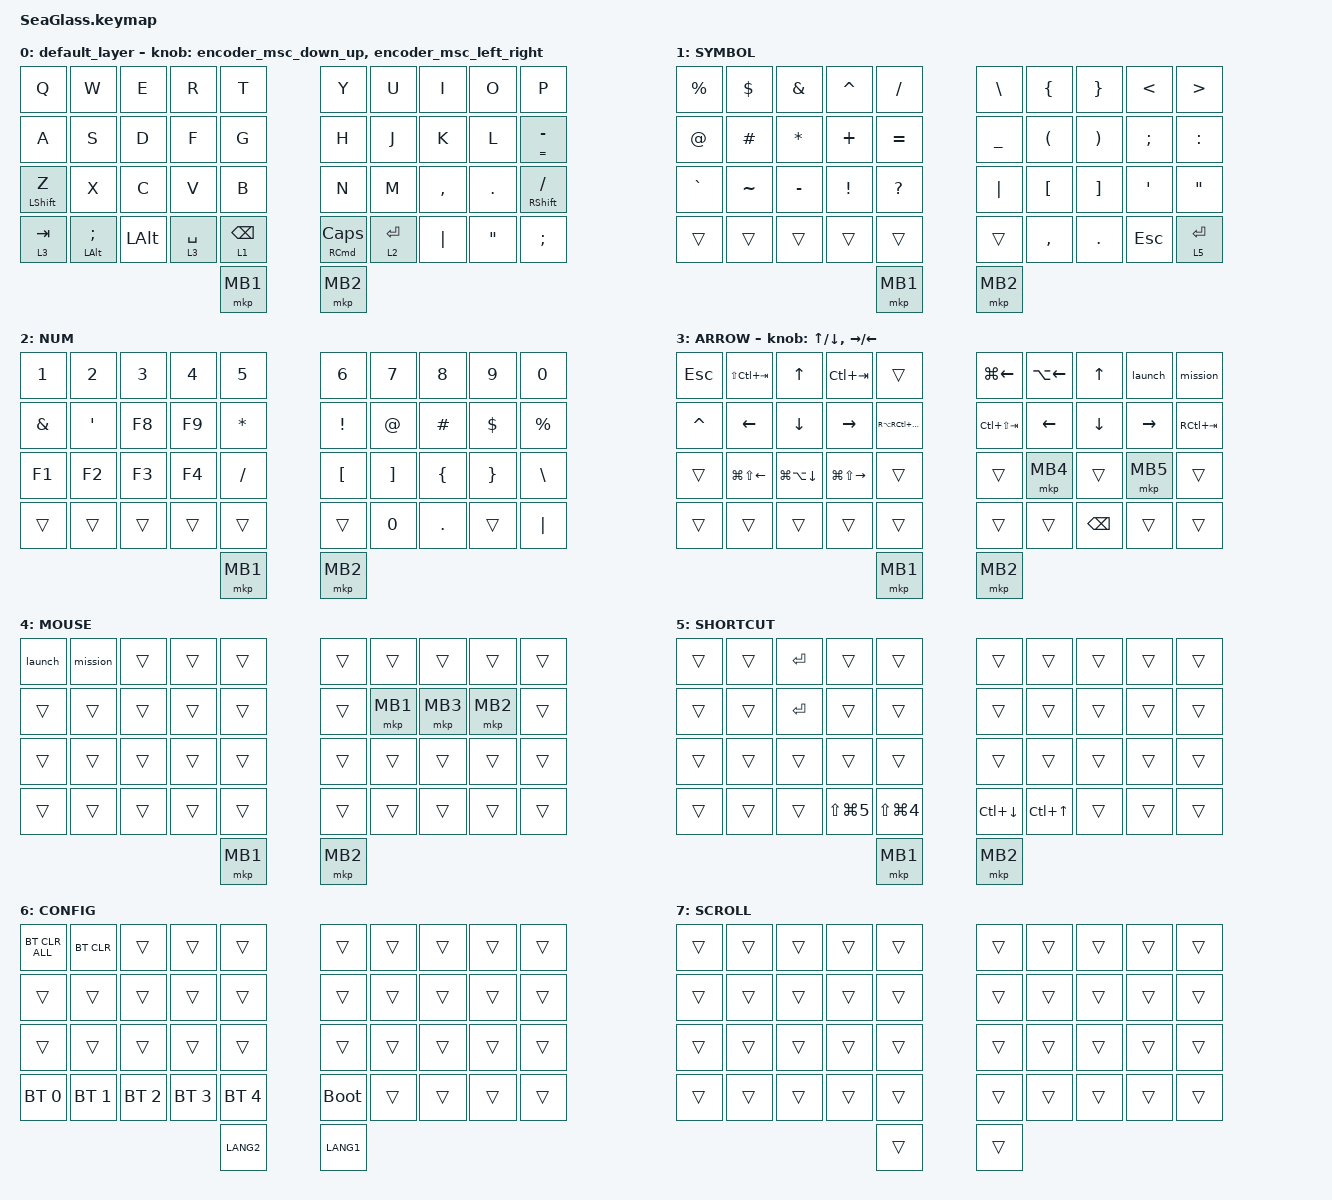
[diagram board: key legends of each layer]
#include <behaviors.dtsi>
#include <dt-bindings/zmk/bt.h>
#include <dt-bindings/zmk/keys.h>
#include <dt-bindings/zmk/pointing.h>

#define MOUSE 4
#define SCROLL 5
#define NUM 6
#define ZMK_POINTING_DEFAULT_SCRL_VAL 120

&mt {
    flavor = "balanced";
    quick-tap-ms = <300>;
};

&lt {
    flavor = "balanced";
    quick-tap-ms = <300>;
};

/ {
    combos {
        compatible = "zmk,combos";

        middle-click {
            bindings = <&mkp MB3>;
            key-positions = <40 41>;
        };

        tab {
            bindings = <&kp TAB>;
            key-positions = <10 11>;
        };

        backspace {
            bindings = <&kp ESCAPE>;
            key-positions = <0 1>;
        };

        l_disp {
            bindings = <&kp LA(LC(D))>;
            key-positions = <20 21>;
        };

        c_disp {
            bindings = <&kp LA(LC(F))>;
            key-positions = <21 22>;
        };

        r_disp {
            bindings = <&kp LA(LC(G))>;
            key-positions = <22 23>;
        };

        full_disp {
            bindings = <&kp LA(LC(ENTER))>;
            key-positions = <23 24>;
        };

        l_p {
            bindings = <&kp LEFT_PARENTHESIS>;
            key-positions = <12 13>;
        };

        r_p {
            bindings = <&kp RIGHT_PARENTHESIS>;
            key-positions = <13 14>;
        };

        r_d2 {
            bindings = <&kp LA(LC(T))>;
            key-positions = <30 31>;
        };

        cap_1 {
            bindings = <&kp LS(LG(NUMBER_4))>;
            key-positions = <38 39>;
        };

        cap_f {
            bindings = <&kp RS(LG(NUMBER_3))>;
            key-positions = <38 37>;
        };
    };

    macros {
        to_layer_0: to_layer_0 {
            compatible = "zmk,behavior-macro-one-param";
            #binding-cells = <1>;
            bindings = <&to 0 &macro_param_1to1 &kp MACRO_PLACEHOLDER>;
            label = "TO_LAYER_0";
        };

        kakko: kakko {
            compatible = "zmk,behavior-macro";
            #binding-cells = <0>;
            bindings = <&kp LEFT_PARENTHESIS &kp RIGHT_PARENTHESIS &kp LEFT_ARROW>;
            label = "KAKKO";
        };

        dai_kakkko: daikakkko {
            compatible = "zmk,behavior-macro";
            #binding-cells = <0>;
            bindings = <&kp LEFT_BRACKET &kp RIGHT_BRACKET &kp LEFT_ARROW>;
            label = "DAIKAKKKO";
        };

        nami_kakko: nami_kakko {
            compatible = "zmk,behavior-macro";
            #binding-cells = <0>;
            bindings = <&kp LEFT_BRACE &kp RIGHT_BRACE &kp LEFT_ARROW>;
            label = "NAMI_KAKKO";
        };

        mission: mission {
            compatible = "zmk,behavior-macro";
            #binding-cells = <0>;
            bindings = <&kp LC(UP_ARROW)>;
            label = "MISSION";
        };

        launch: launch {
            compatible = "zmk,behavior-macro";
            #binding-cells = <0>;
            bindings = <&kp RG(L)>;
            label = "LAUNCH";
        };
    };

    behaviors {
        lt_to_layer_0: lt_to_layer_0 {
            compatible = "zmk,behavior-hold-tap";
            label = "LAYER_TAP_TO_0";
            bindings = <&mo>, <&to_layer_0>;

            #binding-cells = <2>;
            tapping-term-ms = <200>;
        };

        encoder_msc_down_up: encoder_msc_down_up {
            compatible = "zmk,behavior-sensor-rotate";
            label = "ENCODER_MSC_DOWN_UP";
            #sensor-binding-cells = <0>;
            bindings = <&msc SCRL_UP>, <&msc SCRL_DOWN>;

            tap-ms = <20>;
        };

        encoder_msc_left_right: encoder_msc_left_right {
            compatible = "zmk,behavior-sensor-rotate";
            label = "ENCODER_MSC_LEFT_RIGHT";
            #sensor-binding-cells = <0>;
            bindings = <&msc SCRL_LEFT>, <&msc SCRL_RIGHT>;

            tap-ms = <20>;
        };
    };

    keymap {
        compatible = "zmk,keymap";

        default_layer {
            bindings = <
&kp Q             &kp W              &kp E         &kp R        &kp T            &kp Y                       &kp U        &kp I      &kp O              &kp P
&kp A             &kp S              &kp D         &kp F        &kp G            &kp H                       &kp J        &kp K      &kp L              &mt EQUAL MINUS
&mt LEFT_SHIFT Z  &kp X              &kp C         &kp V        &kp B            &kp N                       &kp M        &kp COMMA  &kp PERIOD         &mt RIGHT_SHIFT SLASH
&lt 3 TAB         &mt LEFT_ALT SEMI  &kp LEFT_ALT  &lt 3 SPACE  &lt 1 BACKSPACE  &mt RIGHT_COMMAND CAPSLOCK  &lt 2 ENTER  &kp PIPE   &kp DOUBLE_QUOTES  &kp SEMICOLON
&mkp MB1          &mkp MB2
            >;

            sensor-bindings = <&encoder_msc_down_up>, <&encoder_msc_left_right>;
        };

        SYMBOL {
            bindings = <
&kp PRCNT  &kp DOLLAR  &kp AMPERSAND  &kp CARET        &kp FSLH      &kp BSLH        &kp LEFT_BRACE        &kp RIGHT_BRACE        &kp LESS_THAN  &kp GREATER_THAN
&kp AT     &kp HASH    &kp ASTERISK   &kp PLUS         &kp EQUAL     &kp UNDERSCORE  &kp LEFT_PARENTHESIS  &kp RIGHT_PARENTHESIS  &kp SEMI       &kp COLON
&kp GRAVE  &kp TILDE   &kp MINUS      &kp EXCLAMATION  &kp QUESTION  &kp PIPE        &kp LBKT              &kp RBKT               &kp SQT        &kp DOUBLE_QUOTES
&trans     &trans      &trans         &trans           &trans        &trans          &kp COMMA             &kp PERIOD             &kp ESC        &lt 5 ENTER
&mkp MB1   &mkp MB2
            >;
        };

        NUM {
            bindings = <
&kp NUMBER_1   &kp NUMBER_2      &kp NUMBER_3  &kp NUMBER_4  &kp N5     &kp NUMBER_6      &kp N7             &kp N8          &kp N9           &kp N0
&kp AMPERSAND  &kp SINGLE_QUOTE  &kp F8        &kp F9        &kp ASTRK  &kp EXCLAMATION   &kp AT_SIGN        &kp HASH        &kp DOLLAR       &kp PERCENT
&kp F1         &kp F2            &kp F3        &kp F4        &kp SLASH  &kp LEFT_BRACKET  &kp RIGHT_BRACKET  &kp LEFT_BRACE  &kp RIGHT_BRACE  &kp BACKSLASH
&trans         &trans            &trans        &trans        &trans     &trans            &kp NUMBER_0       &kp PERIOD      &trans           &kp PIPE
&mkp MB1       &mkp MB2
            >;
        };

        ARROW {
            bindings = <
&kp ESCAPE  &kp LS(LC(TAB))         &kp UP_ARROW      &kp LC(TAB)              &trans                       &kp LG(LEFT_ARROW)  &kp LA(LEFT_ARROW)  &kp UP_ARROW    &launch          &mission
&kp CARET   &kp LEFT_ARROW          &kp DOWN_ARROW    &kp RIGHT_ARROW          &kp RA(RC(RG(RIGHT_ARROW)))  &kp LC(LS(TAB))     &kp LEFT_ARROW      &kp DOWN_ARROW  &kp RIGHT_ARROW  &kp RC(TAB)
&trans      &kp LG(LS(LEFT_ARROW))  &kp LG(LA(DOWN))  &kp LG(LS(RIGHT_ARROW))  &trans                       &trans              &mkp MB4            &trans          &mkp MB5         &trans
&trans      &trans                  &trans            &trans                   &trans                       &trans              &trans              &kp BACKSPACE   &trans           &trans
&mkp MB1    &mkp MB2
            >;

            sensor-bindings =
                <&inc_dec_kp UP_ARROW DOWN_ARROW>,
                <&inc_dec_kp RIGHT_ARROW LEFT_ARROW>;
        };

        MOUSE {
            bindings = <
&launch   &mission  &trans  &trans  &trans  &trans  &trans    &trans    &trans    &trans
&trans    &trans    &trans  &trans  &trans  &trans  &mkp MB1  &mkp MB3  &mkp MB2  &trans
&trans    &trans    &trans  &trans  &trans  &trans  &trans    &trans    &trans    &trans
&trans    &trans    &trans  &trans  &trans  &trans  &trans    &trans    &trans    &trans
&mkp MB1  &mkp MB2
            >;
        };

        SHORTCUT {
            bindings = <
&trans    &trans    &kp ENTER  &trans          &trans          &trans              &trans            &trans  &trans  &trans
&trans    &trans    &kp ENTER  &trans          &trans          &trans              &trans            &trans  &trans  &trans
&trans    &trans    &trans     &trans          &trans          &trans              &trans            &trans  &trans  &trans
&trans    &trans    &trans     &kp LS(LG(N5))  &kp LS(LG(N4))  &kp LC(DOWN_ARROW)  &kp LC(UP_ARROW)  &trans  &trans  &trans
&mkp MB1  &mkp MB2
            >;
        };

        CONFIG {
            bindings = <
&bt BT_CLR_ALL  &bt BT_CLR    &trans        &trans        &trans        &trans       &trans  &trans  &trans  &trans
&trans          &trans        &trans        &trans        &trans        &trans       &trans  &trans  &trans  &trans
&trans          &trans        &trans        &trans        &trans        &trans       &trans  &trans  &trans  &trans
&bt BT_SEL 0    &bt BT_SEL 1  &bt BT_SEL 2  &bt BT_SEL 3  &bt BT_SEL 4  &bootloader  &trans  &trans  &trans  &trans
&kp LANG2       &kp LANG1
            >;
        };

        SCROLL {
            bindings = <
&trans  &trans  &trans  &trans  &trans  &trans  &trans  &trans  &trans  &trans
&trans  &trans  &trans  &trans  &trans  &trans  &trans  &trans  &trans  &trans
&trans  &trans  &trans  &trans  &trans  &trans  &trans  &trans  &trans  &trans
&trans  &trans  &trans  &trans  &trans  &trans  &trans  &trans  &trans  &trans
&trans  &trans
            >;
        };
    };
};
